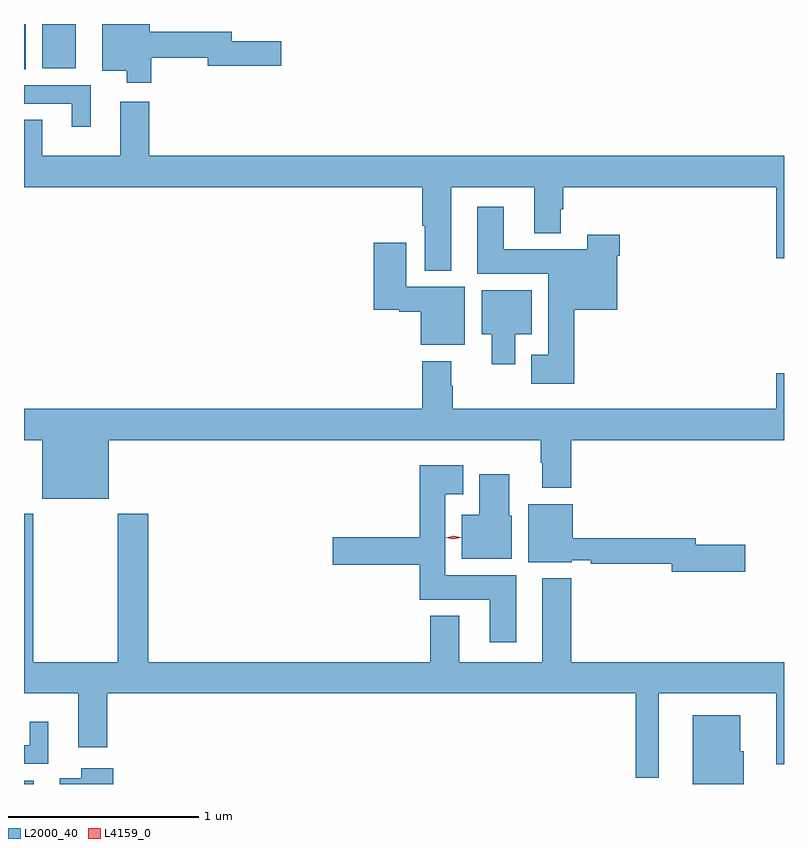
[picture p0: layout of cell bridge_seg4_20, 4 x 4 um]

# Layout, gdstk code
import gdstk
lib = gdstk.Library(unit=1e-6, precision=1e-09)
def R(c, l, rs):  # rectangles x0, y0, x1, y1
    for r in rs: c.add(gdstk.rectangle(r[:2], r[2:], *l))
def P(c, l, *ps):  # polygons
    for p in ps: c.add(gdstk.Polygon(p, *l))
L2000_40 = (2000, 40)
L4159_0 = (4159, 0)

bridge_seg4_20 = lib.new_cell('bridge_seg4_20')
R(bridge_seg4_20, L2000_40, [(1012.196,767.038,1012.246,767.056), (1012.196,770.8,1012.204,771.038), (1012.292,770.804,1012.468,771.038)])
P(bridge_seg4_20, L2000_40, [(1012.866,770.86),(1013.162,770.86),(1013.162,770.818),(1013.551,770.818),(1013.551,770.947),(1013.29,770.947),(1013.29,770.996),(1012.858,770.996),(1012.858,771.038),(1012.607,771.038),(1012.607,770.792),(1012.736,770.792),(1012.736,770.73),(1012.866,770.73)],
  [(1012.546,770.715),(1012.196,770.715),(1012.196,770.619),(1012.448,770.619),(1012.448,770.496),(1012.546,770.496)],
  [(1014.445,770.18),(1014.881,770.18),(1014.881,769.937),(1015.021,769.937),(1015.021,770.064),(1015.034,770.064),(1015.034,770.18),(1016.156,770.18),(1016.156,769.806),(1016.196,769.806),(1016.196,770.344),(1012.856,770.344),(1012.856,770.629),(1012.703,770.629),(1012.703,770.344),(1012.291,770.344),(1012.291,770.534),(1012.196,770.534),(1012.196,770.18),(1014.293,770.18),(1014.293,769.975),(1014.305,769.975),(1014.305,769.739),(1014.445,769.739)],
  [(1015.091,769.535),(1015.318,769.535),(1015.318,769.817),(1015.331,769.817),(1015.331,769.93),(1015.16,769.93),(1015.16,769.852),(1014.721,769.852),(1014.721,770.077),(1014.581,770.077),(1014.581,769.724),(1014.956,769.724),(1014.956,769.297),(1014.866,769.297),(1014.866,769.145),(1015.091,769.145)],
  [(1014.517,769.654),(1014.208,769.654),(1014.208,769.888),(1014.038,769.888),(1014.038,769.535),(1014.171,769.535),(1014.171,769.523),(1014.284,769.523),(1014.284,769.349),(1014.517,769.349)],
  [(1014.781,769.406),(1014.868,769.406),(1014.868,769.636),(1014.605,769.636),(1014.605,769.406),(1014.659,769.406),(1014.659,769.248),(1014.781,769.248)],
  [(1012.642,768.848),(1014.916,768.848),(1014.916,768.728),(1014.923,768.728),(1014.923,768.596),(1015.076,768.596),(1015.076,768.848),(1016.196,768.848),(1016.196,769.201),(1016.156,769.201),(1016.156,769.012),(1014.453,769.012),(1014.453,769.133),(1014.445,769.133),(1014.445,769.264),(1014.293,769.264),(1014.293,769.012),(1012.196,769.012),(1012.196,768.848),(1012.292,768.848),(1012.292,768.539),(1012.642,768.539)],
  [(1014.787,768.136),(1014.412,768.136),(1014.412,768.563),(1014.508,768.563),(1014.508,768.715),(1014.278,768.715),(1014.278,768.338),(1013.82,768.338),(1013.82,768.191),(1014.278,768.191),(1014.278,768.008),(1014.647,768.008),(1014.647,767.784),(1014.787,767.784)],
  [(1014.763,768.45),(1014.751,768.45),(1014.751,768.667),(1014.593,768.667),(1014.593,768.454),(1014.5,768.454),(1014.5,768.224),(1014.763,768.224)],
  [(1015.993,768.296),(1015.732,768.296),(1015.732,768.332),(1015.084,768.332),(1015.084,768.511),(1014.851,768.511),(1014.851,768.206),(1015.08,768.206),(1015.08,768.216),(1015.18,768.216),(1015.18,768.196),(1015.604,768.196),(1015.604,768.154),(1015.993,768.154)],
  [(1015.537,767.516),(1016.156,767.516),(1016.156,767.142),(1016.196,767.142),(1016.196,767.68),(1015.076,767.68),(1015.076,768.121),(1014.923,768.121),(1014.923,767.68),(1014.487,767.68),(1014.487,767.923),(1014.335,767.923),(1014.335,767.68),(1012.85,767.68),(1012.85,768.46),(1012.69,768.46),(1012.69,767.68),(1012.245,767.68),(1012.245,768.46),(1012.196,768.46),(1012.196,767.516),(1012.481,767.516),(1012.481,767.232),(1012.634,767.232),(1012.634,767.516),(1015.416,767.516),(1015.416,767.072),(1015.537,767.072)],
  [(1015.984,767.211),(1015.966,767.211),(1015.966,767.401),(1015.715,767.401),(1015.715,767.038),(1015.984,767.038)],
  [(1012.324,767.365),(1012.226,767.365),(1012.226,767.241),(1012.196,767.241),(1012.196,767.145),(1012.324,767.145)],
  [(1012.667,767.122),(1012.496,767.122),(1012.496,767.068),(1012.385,767.068),(1012.385,767.038),(1012.667,767.038)])
P(bridge_seg4_20, L4159_0, [(1014.456,768.326),(1014.416,768.335),(1014.416,768.335),(1014.416,768.335),(1014.455,768.345),(1014.495,768.336),(1014.495,768.336),(1014.495,768.335)])

lib.write_gds('bridge_seg4_20.gds')
